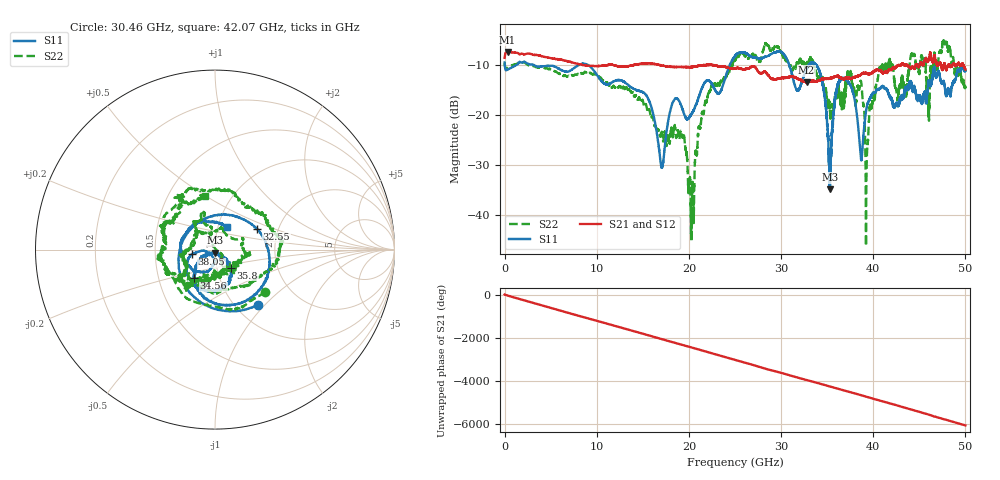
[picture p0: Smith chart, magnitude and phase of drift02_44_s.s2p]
!Created with skrf (http://scikit-rf.org).
# Hz S RI R 50.0
!freq ReS11 ImS11 ReS21 ImS21 ReS12 ImS12 ReS22 ImS22
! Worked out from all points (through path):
!   10001 points, 300 kHz to 50 GHz, reference 50 ohm
!   highest |S21| = -7.32 dB at 325.3 MHz (marker M1); lowest = -13.4 dB at 32.76 GHz (marker M2)
!   group delay of S21, straight-line fit = 335 ps
!   lowest |S11| = -34.9 dB at 35.31 GHz (marker M3), VSWR 1.04, Z = 50 - j1.8 ohm
!   |S11| at or under -10 dB: 3.228 GHz to 8.006 GHz (4.778 GHz wide, 85.1 % of centre); 9.107 GHz to 24.41 GHz (15.31 GHz wide, 91.3 % of centre); 33.84 GHz to end of sweep (the widest 3 of 9)
!   |S22| runs from -46.3 to -5.0 dB; largest |S21 - S12| = 0.014
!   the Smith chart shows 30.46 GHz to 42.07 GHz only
!   S11 on the Smith chart (normalised r, x): 30.46 GHz: 1.26, -0.91; 32.55 GHz: 1.55, +0.39; 34.56 GHz: 0.75, -0.25; 35.8 GHz: 1.17, -0.24; 38.05 GHz: 0.77, -0.04; 42.07 GHz: 1.10, +0.28
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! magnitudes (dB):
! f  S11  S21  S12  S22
! 300 kHz  -9.4  -8.5  -8.5  -9.5
! 325.3 MHz  -10.9  -7.3  -7.3  -10.6
! 8.335 GHz  -9.7  -9.9  -9.9  -11.6
! 16.67 GHz  -25.6  -9.9  -9.9  -23.0
! 19.31 GHz  -18.8  -10.4  -10.3  -24.5
! 20.35 GHz  -19.5  -10.3  -10.3  -34.8
! 21.94 GHz  -13.1  -10.0  -10.0  -17.2
! 25 GHz  -8.1  -10.6  -10.6  -9.0
! 30.46 GHz  -8.2  -12.5  -12.4  -8.7
! 32.55 GHz  -11.7  -13.2  -13.3  -9.9
! 32.76 GHz  -10.8  -13.4  -13.5  -9.5
! 33.34 GHz  -9.6  -13.1  -13.2  -8.9
! 34.56 GHz  -14.1  -12.7  -12.7  -12.9
! 35.31 GHz  -34.9  -12.6  -12.5  -19.2
! 35.8 GHz  -17.4  -12.3  -12.4  -16.9
! 38.05 GHz  -17.6  -12.4  -12.3  -17.4
! 38.69 GHz  -29.0  -11.8  -11.8  -13.4
! 39.32 GHz  -18.2  -11.6  -11.6  -28.0
! 41.67 GHz  -15.7  -10.9  -11.1  -9.8
! 42.07 GHz  -17.1  -10.6  -10.7  -10.3
! 47.77 GHz  -14.4  -9.8  -9.8  -5.7
! 50 GHz  -11.1  -10.8  -10.8  -14.3
